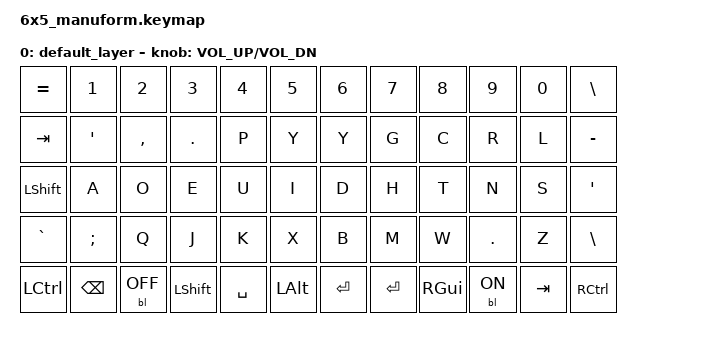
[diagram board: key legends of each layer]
/*
 * Copyright (c) 2020 The ZMK Contributors
 *
 * SPDX-License-Identifier: MIT
 */

#include <behaviors.dtsi>
#include <dt-bindings/zmk/backlight.h>
#include <dt-bindings/zmk/keys.h>

/ {
    keymap {
        compatible = "zmk,keymap";

        default_layer {
            // ------------------------------------------------------------------------------------------------------------
            // |  ESC   |  1  |  2  |  3   |  4   |  5   |                    |  6   |  7    |  8    |  9   |   0   |   `   |
            // |  TAB   |  Q  |  W  |  E   |  R   |  T   |                    |  Y   |  U    |  I    |  O   |   P   |   -   |
            // |  CTRL  |  A  |  S  |  D   |  F   |  G   |                    |  H   |  J    |  K    |  L   |   ;   |   '   |
            // | SHIFT  |  Z  |  X  |  C   |  V   |  B   |                    |  N   |  M    |  ,    |  .   |   /   | SHIFT |
            // |    2   |  2  | f   | 6    | 4    | 1    |                    | 2    | 1     | w     | s    | n     |  a    |

            bindings = <
&kp EQUAL  &kp N1         &kp N2      &kp N3      &kp N4     &kp N5    &kp N6     &kp N7   &kp N8    &kp N9     &kp N0   &kp BACKSLASH
&kp TAB    &kp SQT        &kp COMMA   &kp PERIOD  &kp P      &kp Y     &kp Y      &kp G    &kp C     &kp R      &kp L    &kp MINUS
&kp LSHFT  &kp A          &kp O       &kp E       &kp U      &kp I     &kp D      &kp H    &kp T     &kp N      &kp S    &kp SQT
&kp GRAVE  &kp SEMICOLON  &kp Q       &kp J       &kp K      &kp X     &kp B      &kp M    &kp W     &kp DOT    &kp Z    &kp BSLH
&kp LCTRL  &kp BSPC       &bl BL_OFF  &kp LSHFT   &kp SPACE  &kp LALT  &kp ENTER  &kp RET  &kp RGUI  &bl BL_ON  &kp TAB  &kp RCTRL
            >;

            sensor-bindings = <&inc_dec_kp C_VOL_UP C_VOL_DN>;
        };
    };
};
